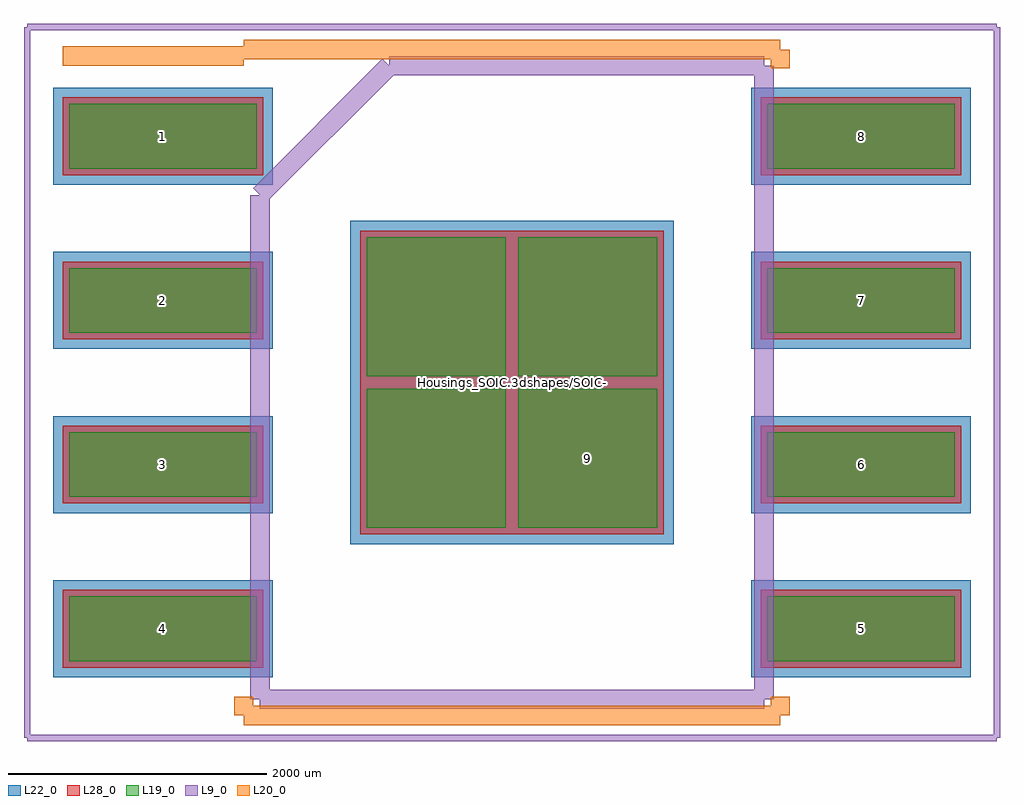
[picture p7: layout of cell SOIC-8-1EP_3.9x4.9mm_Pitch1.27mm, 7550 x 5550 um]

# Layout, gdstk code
import gdstk
lib = gdstk.Library(unit=1e-6, precision=1e-09)
def R(c, l, rs):  # rectangles x0, y0, x1, y1
    for r in rs: c.add(gdstk.rectangle(r[:2], r[2:], *l))
def A(c, l, x, y, w, h, nx, ny, dx, dy):  # array of equal rectangles
    R(c, l, [(x+i*dx, y+j*dy, x+i*dx+w, y+j*dy+h) for i in range(nx) for j in range(ny)])
L9_0 = (9, 0)
L19_0 = (19, 0)
L20_0 = (20, 0)
L22_0 = (22, 0)
L28_0 = (28, 0)

soic_8_1ep_3_9x4_9mm_pit = lib.new_cell('SOIC-8-1EP_3.9x4.9mm_Pitch1.27mm')
A(soic_8_1ep_3_9x4_9mm_pit, L19_0, -3425, -2155, 1450, 500, 1, 4, 0, 1270)
A(soic_8_1ep_3_9x4_9mm_pit, L19_0, 1975, -2155, 1450, 500, 1, 4, 0, 1270)
R(soic_8_1ep_3_9x4_9mm_pit, L19_0, [(-1125,-1125,-50,-50), (50,-1125,1125,-50), (-1125,50,-50,1125), (50,50,1125,1125)])
A(soic_8_1ep_3_9x4_9mm_pit, L22_0, -3550, -2280, 1700, 750, 1, 4, 0, 1270)
A(soic_8_1ep_3_9x4_9mm_pit, L22_0, 1850, -2280, 1700, 750, 1, 4, 0, 1270)
R(soic_8_1ep_3_9x4_9mm_pit, L22_0, [(-1250,-1250,75,75), (-75,-1250,1250,75), (-1250,-75,75,1250), (-75,-75,1250,1250)])
A(soic_8_1ep_3_9x4_9mm_pit, L28_0, -3475, -2205, 1550, 600, 1, 4, 0, 1270)
A(soic_8_1ep_3_9x4_9mm_pit, L28_0, 1925, -2205, 1550, 600, 1, 4, 0, 1270)
R(soic_8_1ep_3_9x4_9mm_pit, L28_0, [(-1175,-1175,0,0), (0,-1175,1175,0), (-1175,0,0,1175), (0,0,1175,1175)])
soic_8_1ep_3_9x4_9mm_pit.add(gdstk.FlexPath([(-2075,2525),(-3475,2525)], 149.998, ends="flush", simple_path=True, layer=20, datatype=0))  # L20_0
soic_8_1ep_3_9x4_9mm_pit.add(gdstk.FlexPath([(-2075,-2575),(2075,-2575)], 149.998, ends="flush", simple_path=True, layer=20, datatype=0))  # L20_0
soic_8_1ep_3_9x4_9mm_pit.add(gdstk.FlexPath([(-2075,2575),(2075,2575)], 149.998, ends="flush", simple_path=True, layer=20, datatype=0))  # L20_0
soic_8_1ep_3_9x4_9mm_pit.add(gdstk.FlexPath([(-2075,-2575),(-2075,-2430)], 149.998, ends="flush", simple_path=True, layer=20, datatype=0))  # L20_0
soic_8_1ep_3_9x4_9mm_pit.add(gdstk.FlexPath([(2075,-2575),(2075,-2430)], 149.998, ends="flush", simple_path=True, layer=20, datatype=0))  # L20_0
soic_8_1ep_3_9x4_9mm_pit.add(gdstk.FlexPath([(2075,2575),(2075,2430)], 149.998, ends="flush", simple_path=True, layer=20, datatype=0))  # L20_0
soic_8_1ep_3_9x4_9mm_pit.add(gdstk.FlexPath([(-2075,2575),(-2075,2525)], 149.998, ends="flush", simple_path=True, layer=20, datatype=0))  # L20_0
soic_8_1ep_3_9x4_9mm_pit.add(gdstk.FlexPath([(-3750,-2750),(3750,-2750)], 50, ends="flush", simple_path=True, layer=9, datatype=0))  # L9_0
soic_8_1ep_3_9x4_9mm_pit.add(gdstk.FlexPath([(-3750,2750),(3750,2750)], 50, ends="flush", simple_path=True, layer=9, datatype=0))  # L9_0
soic_8_1ep_3_9x4_9mm_pit.add(gdstk.FlexPath([(3750,2750),(3750,-2750)], 50, ends="flush", simple_path=True, layer=9, datatype=0))  # L9_0
soic_8_1ep_3_9x4_9mm_pit.add(gdstk.FlexPath([(-3750,2750),(-3750,-2750)], 50, ends="flush", simple_path=True, layer=9, datatype=0))  # L9_0
soic_8_1ep_3_9x4_9mm_pit.add(gdstk.FlexPath([(-1950,1450),(-950,2450)], 149.998, ends="flush", simple_path=True, layer=9, datatype=0))  # L9_0
soic_8_1ep_3_9x4_9mm_pit.add(gdstk.FlexPath([(-1950,-2450),(-1950,1450)], 149.998, ends="flush", simple_path=True, layer=9, datatype=0))  # L9_0
soic_8_1ep_3_9x4_9mm_pit.add(gdstk.FlexPath([(1950,-2450),(-1950,-2450)], 149.998, ends="flush", simple_path=True, layer=9, datatype=0))  # L9_0
soic_8_1ep_3_9x4_9mm_pit.add(gdstk.FlexPath([(1950,2450),(1950,-2450)], 149.998, ends="flush", simple_path=True, layer=9, datatype=0))  # L9_0
soic_8_1ep_3_9x4_9mm_pit.add(gdstk.FlexPath([(-950,2450),(1950,2450)], 149.998, ends="flush", simple_path=True, layer=9, datatype=0))  # L9_0
soic_8_1ep_3_9x4_9mm_pit.add(gdstk.Label('Housings_SOIC.3dshapes/SOIC-8-1EP_3.9x4.9mm_Pitch1.27mm.wrl', (0,0), layer=12, texttype=0))
soic_8_1ep_3_9x4_9mm_pit.add(gdstk.Label('9', (587.5,-587.5), layer=28, texttype=0))
soic_8_1ep_3_9x4_9mm_pit.add(gdstk.Label('8', (2700,1905), layer=28, texttype=0))
soic_8_1ep_3_9x4_9mm_pit.add(gdstk.Label('7', (2700,635), layer=28, texttype=0))
soic_8_1ep_3_9x4_9mm_pit.add(gdstk.Label('6', (2700,-635), layer=28, texttype=0))
soic_8_1ep_3_9x4_9mm_pit.add(gdstk.Label('5', (2700,-1905), layer=28, texttype=0))
soic_8_1ep_3_9x4_9mm_pit.add(gdstk.Label('4', (-2700,-1905), layer=28, texttype=0))
soic_8_1ep_3_9x4_9mm_pit.add(gdstk.Label('3', (-2700,-635), layer=28, texttype=0))
soic_8_1ep_3_9x4_9mm_pit.add(gdstk.Label('2', (-2700,635), layer=28, texttype=0))
soic_8_1ep_3_9x4_9mm_pit.add(gdstk.Label('1', (-2700,1905), layer=28, texttype=0))
soic_8_1ep_3_9x4_9mm_pit.add(gdstk.Label('type', (0,-3500), layer=9, texttype=0))
soic_8_1ep_3_9x4_9mm_pit.add(gdstk.Label('devicename', (0,3500), layer=9, texttype=0))

lib.write_gds('SOIC-8-1EP_3.9x4.9mm_Pitch1.27mm.gds')
